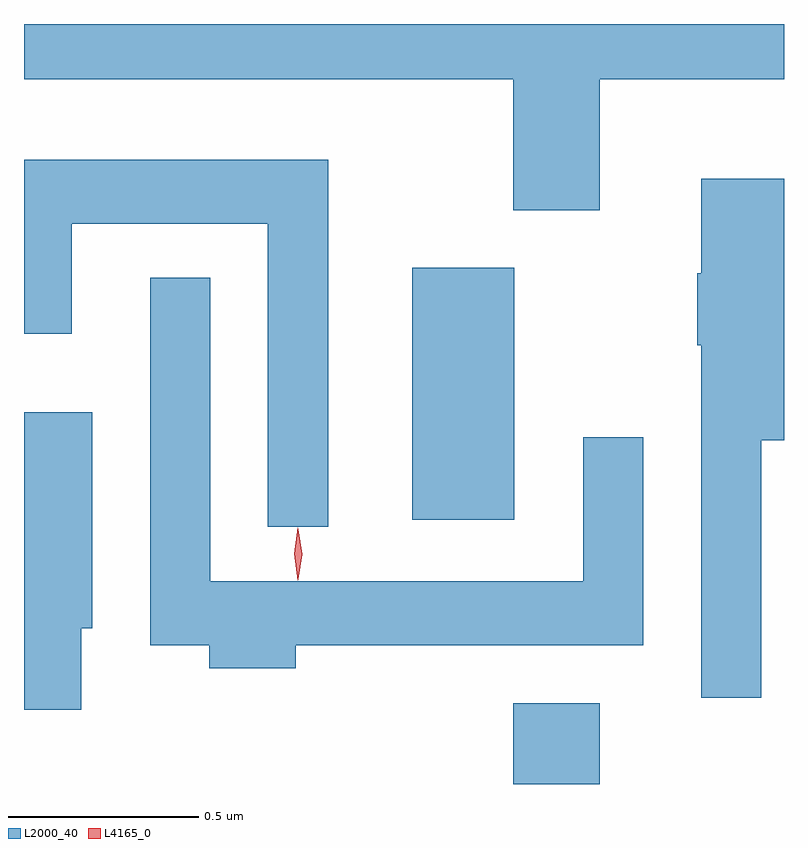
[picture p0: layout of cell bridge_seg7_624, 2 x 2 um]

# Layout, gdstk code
import gdstk
lib = gdstk.Library(unit=1e-6, precision=1e-09)
def R(c, l, rs):  # rectangles x0, y0, x1, y1
    for r in rs: c.add(gdstk.rectangle(r[:2], r[2:], *l))
def P(c, l, *ps):  # polygons
    for p in ps: c.add(gdstk.Polygon(p, *l))
L2000_40 = (2000, 40)
L4165_0 = (4165, 0)

bridge_seg7_624 = lib.new_cell('bridge_seg7_624')
R(bridge_seg7_624, L2000_40, [(625.851,1734.661,626.079,1734.874), (625.586,1735.356,625.854,1736.019)])
P(bridge_seg7_624, L2000_40, [(626.079,1736.516),(626.564,1736.516),(626.564,1736.661),(624.564,1736.661),(624.564,1736.516),(625.851,1736.516),(625.851,1736.171),(626.079,1736.171)],
  [(625.364,1736.304),(624.564,1736.304),(624.564,1735.846),(624.689,1735.846),(624.689,1736.136),(625.206,1736.136),(625.206,1735.338),(625.364,1735.338)],
  [(626.504,1735.566),(626.564,1735.566),(626.564,1736.254),(626.346,1736.254),(626.346,1736.005),(626.336,1736.005),(626.336,1735.815),(626.346,1735.815),(626.346,1734.888),(626.504,1734.888)],
  [(625.279,1735.026),(626.194,1735.026),(626.194,1735.573),(626.036,1735.573),(626.036,1735.194),(625.054,1735.194),(625.054,1735.993),(624.896,1735.993),(624.896,1735.026),(625.051,1735.026),(625.051,1734.966),(625.279,1734.966)],
  [(624.714,1735.071),(624.744,1735.071),(624.744,1735.639),(624.564,1735.639),(624.564,1734.856),(624.714,1734.856)])
P(bridge_seg7_624, L4165_0, [(625.284,1735.197),(625.275,1735.267),(625.284,1735.336),(625.285,1735.336),(625.285,1735.336),(625.295,1735.267),(625.285,1735.197),(625.285,1735.197)],
  [(625.286,1735.199),(625.285,1735.2),(625.276,1735.266),(625.285,1735.332),(625.286,1735.333),(625.286,1735.332),(625.296,1735.266),(625.286,1735.2)])

lib.write_gds('bridge_seg7_624.gds')
